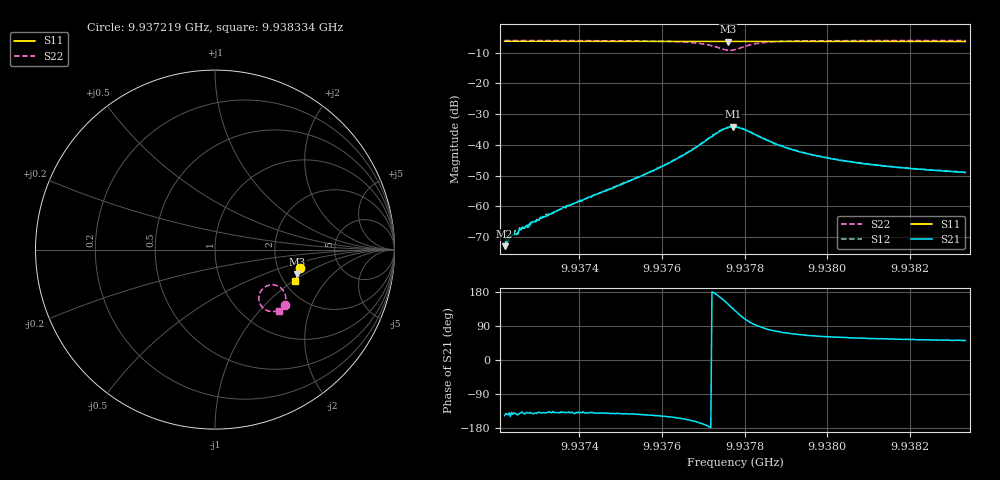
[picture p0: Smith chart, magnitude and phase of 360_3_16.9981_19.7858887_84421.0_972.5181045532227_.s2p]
#  HZ  S  RI  R  50.00
! Rohde & Schwarz Vector Network Analyzer
! Rohde-Schwarz,ZNB20-2Port,1311601062101988,3.16
! Created: UTC 3/20/2024, 11:08:12 PM
! freq[Hz]  re:S11  im:S11  re:S21  im:S21  re:S12  im:S12  re:S22  im:S22
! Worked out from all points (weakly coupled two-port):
!   401 points, 9.937219 GHz to 9.938334 GHz, reference 50 ohm
!   highest |S21| = -34.09 dB at 9.937771 GHz (marker M1); lowest = -72.9 dB at 9.937219 GHz (marker M2)
!   lowest |S11| = -6.4 dB at 9.93776 GHz (marker M3), VSWR 2.84, Z = 124 - j44.2 ohm
!   |S11| at or under -10 dB: nowhere
!   |S22| runs from -9.3 to -6.0 dB; largest |S21 - S12| = 0.00072
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9.9372187e9  0.4728 -0.1028  -0.000188 -0.000124  -0.000236 -0.000171  0.3891 -0.3114
9.9372298e9  0.4725 -0.1037  -0.000225 -0.000194  -0.000234 -0.000151  0.3885 -0.312
9.937241e9  0.4723 -0.1042  -0.000267 -0.000228  -0.000262 -0.000202  0.3878 -0.3128
9.9372605e9  0.472 -0.1057  -0.000333 -0.000308  -0.000348 -0.000254  0.3863 -0.3143
9.9372745e9  0.4718 -0.1066  -0.000345 -0.000292  -0.000376 -0.00032  0.3852 -0.3152
9.9372884e9  0.4713 -0.1075  -0.000449 -0.000353  -0.000445 -0.000347  0.3841 -0.3163
9.9373163e9  0.4708 -0.1095  -0.000514 -0.000449  -0.000538 -0.000433  0.3821 -0.3184
9.9374056e9  0.469 -0.1154  -0.000924 -0.000799  -0.000955 -0.00079  0.3739 -0.325
9.9375924e9  0.4648 -0.1279  -0.00354 -0.00229  -0.00366 -0.00224  0.3427 -0.342
9.937651e9  0.4631 -0.1319  -0.00615 -0.00282  -0.0063 -0.00278  0.3185 -0.3455
9.9377012e9  0.4615 -0.1352  -0.0109 -0.00195  -0.0112 -0.00182  0.2795 -0.3342
9.9377375e9  0.4597 -0.1369  -0.0159 0.00339  -0.0162 0.00378  0.2461 -0.2869
9.9377598e9  0.459 -0.1377  -0.016 0.0101  -0.0161 0.0108  0.2548 -0.233
9.937771e9  0.4591 -0.138  -0.0142 0.0137  -0.0139 0.0142  0.2755 -0.2101
9.9377765e9  0.459 -0.138  -0.0125 0.0149  -0.0123 0.0155  0.2887 -0.2024
9.9378044e9  0.4594 -0.1396  -0.0044 0.0166  -0.00417 0.0169  0.3521 -0.2041
9.9378351e9  0.4593 -0.1417  0.000301 0.0135  0.000712 0.0137  0.3849 -0.2358
9.9379021e9  0.458 -0.1466  0.00293 0.00853  0.00309 0.00844  0.3934 -0.2824
9.9379634e9  0.4565 -0.1509  0.00301 0.00621  0.00317 0.0062  0.388 -0.3026
9.9380387e9  0.4547 -0.1558  0.00277 0.00474  0.00293 0.00477  0.3806 -0.3173
9.9381503e9  0.4514 -0.163  0.00253 0.00366  0.00263 0.00368  0.3712 -0.3302
9.9383344e9  0.4465 -0.1748  0.00221 0.00277  0.00232 0.00281  0.358 -0.3448
